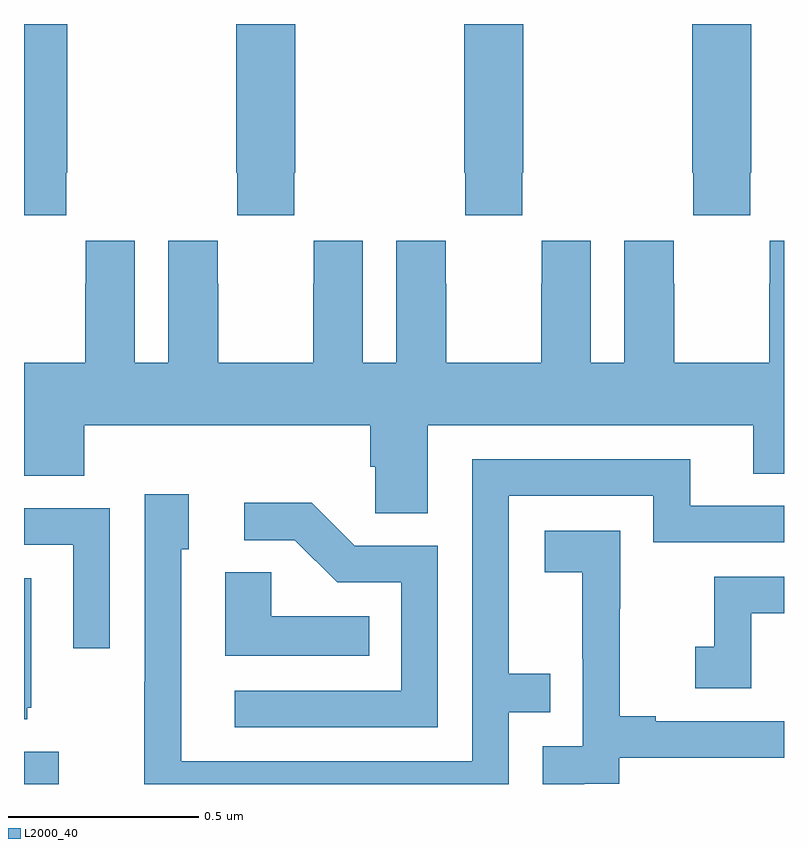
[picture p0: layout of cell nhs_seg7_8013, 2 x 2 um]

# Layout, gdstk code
import gdstk
lib = gdstk.Library(unit=1e-6, precision=1e-09)
def R(c, l, rs):  # rectangles x0, y0, x1, y1
    for r in rs: c.add(gdstk.rectangle(r[:2], r[2:], *l))
def P(c, l, *ps):  # polygons
    for p in ps: c.add(gdstk.Polygon(p, *l))
L2000_40 = (2000, 40)

nhs_seg7_8013 = lib.new_cell('nhs_seg7_8013')
R(nhs_seg7_8013, L2000_40, [(219,1005,219.091,1005.085)])
P(nhs_seg7_8013, L2000_40, [(219.711,1006.609),(219.714,1006.609),(219.714,1007),(219.559,1007),(219.559,1006.609),(219.561,1006.609),(219.561,1006.497),(219.711,1006.497)],
  [(220.311,1006.609),(220.314,1006.609),(220.314,1007),(220.159,1007),(220.159,1006.609),(220.161,1006.609),(220.161,1006.497),(220.311,1006.497)],
  [(220.911,1006.609),(220.914,1006.609),(220.914,1007),(220.759,1007),(220.759,1006.609),(220.761,1006.609),(220.761,1006.497),(220.911,1006.497)],
  [(219.111,1006.609),(219.114,1006.609),(219.114,1007),(219,1007),(219,1006.497),(219.111,1006.497)],
  [(220.919,1005.817),(221,1005.817),(221,1006.429),(220.962,1006.429),(220.962,1006.316),(220.961,1006.316),(220.961,1006.108),(220.711,1006.108),(220.711,1006.316),(220.71,1006.316),(220.71,1006.429),(220.58,1006.429),(220.58,1006.108),(220.492,1006.108),(220.492,1006.429),(220.362,1006.429),(220.362,1006.316),(220.361,1006.316),(220.361,1006.108),(220.111,1006.108),(220.111,1006.316),(220.11,1006.316),(220.11,1006.429),(219.98,1006.429),(219.98,1006.108),(219.892,1006.108),(219.892,1006.429),(219.762,1006.429),(219.762,1006.316),(219.761,1006.316),(219.761,1006.108),(219.511,1006.108),(219.511,1006.316),(219.51,1006.316),(219.51,1006.429),(219.38,1006.429),(219.38,1006.108),(219.292,1006.108),(219.292,1006.429),(219.162,1006.429),(219.162,1006.316),(219.161,1006.316),(219.161,1006.108),(219,1006.108),(219,1005.811),(219.158,1005.811),(219.158,1005.944),(219.911,1005.944),(219.911,1005.835),(219.924,1005.835),(219.924,1005.712),(220.063,1005.712),(220.063,1005.944),(220.919,1005.944)],
  [(220.275,1005.189),(220.385,1005.189),(220.385,1005.29),(220.275,1005.29),(220.275,1005.759),(220.656,1005.759),(220.656,1005.636),(221,1005.636),(221,1005.732),(220.753,1005.732),(220.753,1005.855),(220.179,1005.855),(220.179,1005.06),(219.414,1005.06),(219.414,1005.618),(219.433,1005.618),(219.433,1005.763),(219.318,1005.763),(219.318,1005.269),(219.316,1005.269),(219.316,1005),(220.275,1005)],
  [(220.089,1005.627),(219.87,1005.627),(219.757,1005.74),(219.579,1005.74),(219.579,1005.642),(219.713,1005.642),(219.824,1005.531),(219.993,1005.531),(219.993,1005.246),(219.555,1005.246),(219.555,1005.15),(220.089,1005.15)],
  [(219.225,1005.726),(219,1005.726),(219,1005.63),(219.129,1005.63),(219.129,1005.357),(219.225,1005.357)],
  [(220.474,1005.001),(220.566,1005.001),(220.566,1005.069),(221,1005.069),(221,1005.165),(220.663,1005.165),(220.663,1005.178),(220.568,1005.178),(220.568,1005.461),(220.569,1005.461),(220.569,1005.667),(220.371,1005.667),(220.371,1005.557),(220.469,1005.557),(220.469,1005.329),(220.47,1005.329),(220.47,1005.099),(220.365,1005.099),(220.365,1005),(220.474,1005)],
  [(219.908,1005.442),(219.651,1005.442),(219.651,1005.557),(219.53,1005.557),(219.53,1005.338),(219.908,1005.338)],
  [(220.914,1005.45),(221,1005.45),(221,1005.546),(220.816,1005.546),(220.816,1005.361),(220.767,1005.361),(220.767,1005.252),(220.914,1005.252)],
  [(219.008,1005.201),(219.019,1005.201),(219.019,1005.541),(219,1005.541),(219,1005.17),(219.008,1005.17)])

lib.write_gds('nhs_seg7_8013.gds')
